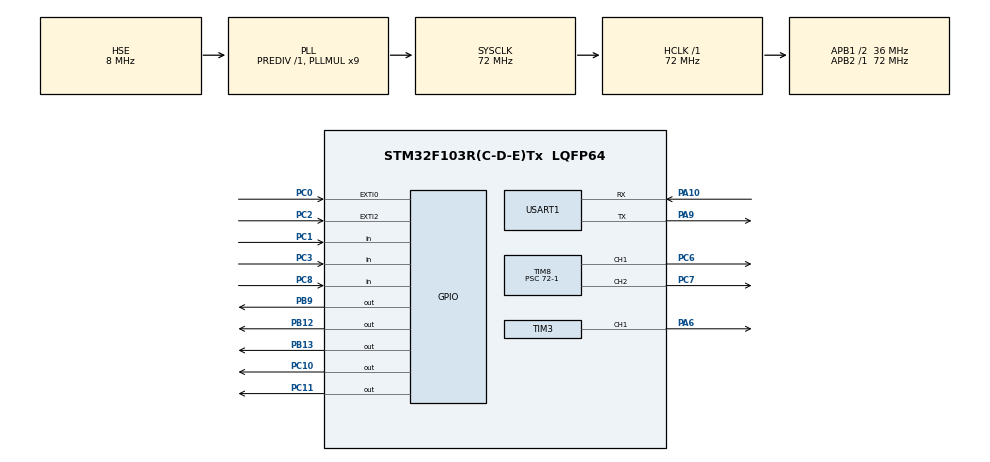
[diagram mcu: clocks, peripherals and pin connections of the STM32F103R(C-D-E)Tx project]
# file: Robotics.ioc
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Mcu.Family=STM32F1
Mcu.Name=STM32F103R(C-D-E)Tx
Mcu.Package=LQFP64
NVIC.EXTI0_IRQn=true\:1\:0\:true\:false\:true\:true\:true\:true
NVIC.EXTI2_IRQn=true\:1\:0\:true\:false\:true\:true\:true\:true
NVIC.PriorityGroup=NVIC_PRIORITYGROUP_4
NVIC.TIM6_IRQn=true\:3\:0\:true\:false\:true\:true\:true\:true
PA10.Mode=Asynchronous
PA10.Signal=USART1_RX
PA13.Mode=Serial_Wire
PA13.Signal=SYS_JTMS-SWDIO
PA14.Mode=Serial_Wire
PA14.Signal=SYS_JTCK-SWCLK
PA6.Signal=S_TIM3_CH1
PA9.Mode=Asynchronous
PA9.Signal=USART1_TX
PB12.GPIO_Speed=GPIO_SPEED_FREQ_HIGH
PB12.PinState=GPIO_PIN_RESET
PB12.Signal=GPIO_Output
PB13.GPIO_Speed=GPIO_SPEED_FREQ_HIGH
PB13.Signal=GPIO_Output
PB9.PinState=GPIO_PIN_SET
PB9.Signal=GPIO_Output
PC0.GPIO_ModeDefaultEXTI=GPIO_MODE_IT_RISING_FALLING
PC0.GPIO_PuPd=GPIO_PULLUP
PC0.Signal=GPXTI0
PC1.GPIO_PuPd=GPIO_PULLUP
PC1.Signal=GPIO_Input
PC10.GPIO_Speed=GPIO_SPEED_FREQ_HIGH
PC10.Signal=GPIO_Output
PC11.GPIO_Speed=GPIO_SPEED_FREQ_HIGH
PC11.Signal=GPIO_Output
PC2.GPIO_ModeDefaultEXTI=GPIO_MODE_IT_RISING_FALLING
PC2.GPIO_PuPd=GPIO_PULLUP
PC2.Signal=GPXTI2
PC3.GPIO_PuPd=GPIO_PULLUP
PC3.Signal=GPIO_Input
PC6.Signal=S_TIM8_CH1
PC7.Signal=S_TIM8_CH2
PC8.GPIO_PuPd=GPIO_PULLUP
PC8.Signal=GPIO_Input
PD0-OSC_IN.Mode=HSE-External-Oscillator
PD0-OSC_IN.Signal=RCC_OSC_IN
PD1-OSC_OUT.Mode=HSE-External-Oscillator
PD1-OSC_OUT.Signal=RCC_OSC_OUT
ProjectManager.HeapSize=0x200
ProjectManager.StackSize=0x400
ProjectManager.TargetToolchain=MDK-ARM V5.32
RCC.AHBFreq_Value=72000000
RCC.APB1CLKDivider=RCC_HCLK_DIV2
RCC.APB1Freq_Value=36000000
RCC.APB1TimFreq_Value=72000000
RCC.APB2Freq_Value=72000000
RCC.APB2TimFreq_Value=72000000
RCC.HCLKFreq_Value=72000000
RCC.PLLMUL=RCC_PLL_MUL9
RCC.PLLSourceVirtual=RCC_PLLSOURCE_HSE
RCC.SYSCLKFreq_VALUE=72000000
RCC.SYSCLKSource=RCC_SYSCLKSOURCE_PLLCLK
RCC.USBFreq_Value=72000000
SH.S_TIM3_CH1.0=TIM3_CH1,PWM Generation1 CH1
SH.S_TIM8_CH1.0=TIM8_CH1,PWM Generation1 CH1
SH.S_TIM8_CH2.0=TIM8_CH2,PWM Generation2 CH2
TIM3.Channel-PWM\ Generation1\ CH1=TIM_CHANNEL_1
TIM3.Period=19999
TIM3.Prescaler=72-1
TIM6.Period=1000-1
TIM6.Prescaler=72-1
TIM8.Channel-PWM\ Generation1\ CH1=TIM_CHANNEL_1
TIM8.Channel-PWM\ Generation2\ CH2=TIM_CHANNEL_2
TIM8.Period=100-1
TIM8.Prescaler=72-1
USART1.VirtualMode=VM_ASYNC
VP_TIM3_VS_ClockSourceINT.Mode=Internal
VP_TIM6_VS_ClockSourceINT.Mode=Enable_Timer
VP_TIM8_VS_ClockSourceINT.Mode=Internal
board=custom

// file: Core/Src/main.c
/* USER CODE BEGIN Header */
/**
  ******************************************************************************
  * @file           : main.c
  * @brief          : Main program body
  ******************************************************************************
  * @attention
  *
  * Copyright (c) 2025 STMicroelectronics.
  * All rights reserved.
  *
  * This software is licensed under terms that can be found in the LICENSE file
  * in the root directory of this software component.
  * If no LICENSE file comes with this software, it is provided AS-IS.
  *
  ******************************************************************************
  */
/* USER CODE END Header */
#include "main.h"
#include "tim.h"
#include "usart.h"
#include "gpio.h"

/* USER CODE BEGIN Includes */
#include "Key.h"
#include "Motor.h"
#include "Serial.h"
#include "Servo.h"
#include "AutoPath.h"
/* USER CODE END Includes */

/* USER CODE BEGIN PV */
int32_t time_ms = 0;
float motor_encoder[2] = {0.0f, 0.0f};
uint8_t Key = 0;
/* USER CODE END PV */

void SystemClock_Config(void);

/* USER CODE BEGIN 0 */
void HAL_TIM_PeriodElapsedCallback(TIM_HandleTypeDef *htim)
{
  if (htim == &htim6)
  {
    time_ms++;
  }
}

void HAL_GPIO_EXTI_Callback(uint16_t GPIO_Pin)
{
  if (GPIO_Pin == GPIO_PIN_0)
  {
    uint8_t a_state = HAL_GPIO_ReadPin(GPIOC, GPIO_PIN_0);
    uint8_t b_state = HAL_GPIO_ReadPin(GPIOC, GPIO_PIN_1);
    if (a_state == GPIO_PIN_SET)
    {
      if (b_state == GPIO_PIN_RESET)
      {
        motor_encoder[0]++;
      }
      else
      {
        motor_encoder[0]--;
      }
    }
    if (a_state == GPIO_PIN_RESET)
    {
      if (b_state == GPIO_PIN_RESET)
      {
        motor_encoder[0]--;
      }
      else
      {
        motor_encoder[0]++;
      }
    }
  }
  if (GPIO_Pin == GPIO_PIN_2)
  {
    uint8_t c_state = HAL_GPIO_ReadPin(GPIOC, GPIO_PIN_2);
    uint8_t d_state = HAL_GPIO_ReadPin(GPIOC, GPIO_PIN_3);
    if (c_state == GPIO_PIN_SET)
    {
      if (d_state == GPIO_PIN_RESET)
      {
        motor_encoder[1]++;
      }
      else
      {
        motor_encoder[1]--;
      }
    }
    if (c_state == GPIO_PIN_RESET)
    {
      if (d_state == GPIO_PIN_RESET)
      {
        motor_encoder[1]--;
      }
      else
      {
        motor_encoder[1]++;
      }
    }
  }
}
/* USER CODE END 0 */

int main(void)
{

  /* MCU Configuration--------------------------------------------------------*/

  /* Reset of all peripherals, Initializes the Flash interface and the Systick. */
  HAL_Init();

  /* Configure the system clock */
  SystemClock_Config();

  /* Initialize all configured peripherals */
  MX_GPIO_Init();
  MX_USART1_UART_Init();
  MX_TIM3_Init();
  MX_TIM6_Init();
  MX_TIM8_Init();
  /* USER CODE BEGIN 2 */
  HAL_TIM_PWM_Start(&htim8, TIM_CHANNEL_1);
  HAL_TIM_PWM_Start(&htim8, TIM_CHANNEL_2);
  HAL_TIM_PWM_Start(&htim3, TIM_CHANNEL_1);
  /* USER CODE END 2 */

  /* Infinite loop */
  /* USER CODE BEGIN WHILE */
  while (1)
  {
    // Set_Motor_velocity('b', 20);
    // Set_Servo_Angle(0.0f);
    Key = Get_KeyNum(Key);
    if (Key == 1)
    {
      HAL_TIM_Base_Start_IT(&htim6);
      if (time_ms > 0 && time_ms <= 3000)
      {
        Go_Distance(408.407f, motor_encoder);
      }
      if (time_ms > 3000 && time_ms <= 3500)
      {
        Stop();
        motor_encoder[0] = 0;
        motor_encoder[1] = 0;
      }
      if (time_ms > 3500 && time_ms <= 6000)
      {
        Turn_Right_Left(60.0f, 300.0f, motor_encoder);
      }
      if (time_ms > 6000)
      {
        Stop();
      }

      float deg = (motor_encoder[0] / 728.0f) * 360.0f;
      send_float_data(deg);
      HAL_Delay(200);
    }
    // if (time_ms > 0 && time_ms <= 5900)
    // {
    //   Go_Ahead();
    // }
    // if (time_ms >5900 && time_ms <= 7200)
    // {
    //   Turn_Right_Left_Back(-80.0f);
    // }
    // if (time_ms > 7200 && time_ms <= 8500)
    // {
    //   Turn_Right_Left_Back(-52.0f);
    // }
    // if (time_ms > 8500 && time_ms <= 9500)
    // {
    //   Stop_2();
    // }
    // if (time_ms > 9500 && time_ms <= 10800)
    // {
    //   Go_Back();
    // }
    // if (time_ms > 10800)
    // {
    //   Stop();
    // }
    // if (time_ms > 10800 && time_ms < 12800)
    // {
    //   Stop();
    // }
    // if (time_ms > 12800 && time_ms <= 13300)
    // {
    //   Go_Ahead();
    // }
    // if (time_ms > 13300 && time_ms <= 15200)
    // {
    //   Turn_Right_Left_Ahead(-80.0f);
    // }
    // if (time_ms > 15200 && time_ms <= 15800)
    // {
    //   Stop_2();
    // }
    // if (time_ms > 15800 && time_ms <= 17200)
    // {
    //   Go_Ahead();
    // }
    // if (time_ms > 17200)
    // {
    //   Stop();
    // }

    // send_32bits_data(time_ms);
    // HAL_Delay(1000);
    /* USER CODE END WHILE */

  }
}

void SystemClock_Config(void)
{
  RCC_OscInitTypeDef RCC_OscInitStruct = {0};
  RCC_ClkInitTypeDef RCC_ClkInitStruct = {0};

  /** Initializes the RCC Oscillators according to the specified parameters
  * in the RCC_OscInitTypeDef structure.
  */
  RCC_OscInitStruct.OscillatorType = RCC_OSCILLATORTYPE_HSE;
  RCC_OscInitStruct.HSEState = RCC_HSE_ON;
  RCC_OscInitStruct.HSEPredivValue = RCC_HSE_PREDIV_DIV1;
  RCC_OscInitStruct.HSIState = RCC_HSI_ON;
  RCC_OscInitStruct.PLL.PLLState = RCC_PLL_ON;
  RCC_OscInitStruct.PLL.PLLSource = RCC_PLLSOURCE_HSE;
  RCC_OscInitStruct.PLL.PLLMUL = RCC_PLL_MUL9;
  if (HAL_RCC_OscConfig(&RCC_OscInitStruct) != HAL_OK)
  {
    Error_Handler();
  }

  /** Initializes the CPU, AHB and APB buses clocks
  */
  RCC_ClkInitStruct.ClockType = RCC_CLOCKTYPE_HCLK|RCC_CLOCKTYPE_SYSCLK
                              |RCC_CLOCKTYPE_PCLK1|RCC_CLOCKTYPE_PCLK2;
  RCC_ClkInitStruct.SYSCLKSource = RCC_SYSCLKSOURCE_PLLCLK;
  RCC_ClkInitStruct.AHBCLKDivider = RCC_SYSCLK_DIV1;
  RCC_ClkInitStruct.APB1CLKDivider = RCC_HCLK_DIV2;
  RCC_ClkInitStruct.APB2CLKDivider = RCC_HCLK_DIV1;

  if (HAL_RCC_ClockConfig(&RCC_ClkInitStruct, FLASH_LATENCY_2) != HAL_OK)
  {
    Error_Handler();
  }
}

void Error_Handler(void)
{
  __disable_irq();
  while (1)
  {
  }
}
